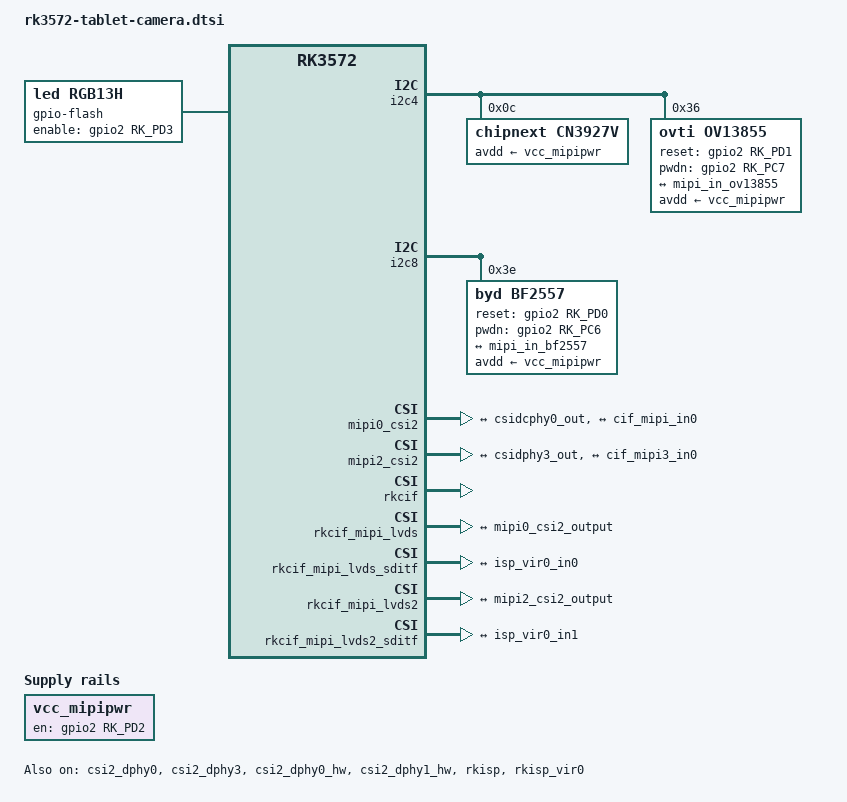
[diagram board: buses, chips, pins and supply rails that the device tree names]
// SPDX-License-Identifier: (GPL-2.0+ OR MIT)
/*
 * Copyright (c) 2026 Rockchip Electronics Co., Ltd.
 *
 */
/ {
	flash_rgb13h: flash-rgb13h {
		status = "okay";
		compatible = "led,rgb13h";
		label = "gpio-flash";
		pinctrl-names = "default";
		pinctrl-0 = <&flash_led_gpios>;
		led-max-microamp = <20000>;
		flash-max-microamp = <20000>;
		flash-max-timeout-us = <1000000>;
		enable-gpio = <&gpio2 RK_PD3 GPIO_ACTIVE_HIGH>;
		rockchip,camera-module-index = <0>;
		rockchip,camera-module-facing = "back";
	};

	vcc_mipipwr: vcc-mipipwr-regulator {
		compatible = "regulator-fixed";
		gpio = <&gpio2 RK_PD2 GPIO_ACTIVE_HIGH>;
		pinctrl-names = "default";
		pinctrl-0 = <&mipicam_pwr>;
		regulator-name = "vcc_mipipwr";
		enable-active-high;
		regulator-boot-on;
	};
};

&csi2_dphy0 {
	status = "okay";

	ports {
		#address-cells = <1>;
		#size-cells = <0>;
		port@0 {
			reg = <0>;
			#address-cells = <1>;
			#size-cells = <0>;

			mipi_in_ov13855: endpoint@1 {
				reg = <1>;
				remote-endpoint = <&ov13855_out0>;
				data-lanes = <1 2 3 4>;
			};

		};
		port@1 {
			reg = <1>;
			#address-cells = <1>;
			#size-cells = <0>;

			csidcphy0_out: endpoint@0 {
				reg = <0>;
				remote-endpoint = <&mipi0_csi2_input>;
			};
		};
	};
};

&csi2_dphy3 {
	status = "okay";

	ports {
		#address-cells = <1>;
		#size-cells = <0>;
		port@0 {
			reg = <0>;
			#address-cells = <1>;
			#size-cells = <0>;

			mipi_in_bf2557: endpoint@1 {
				reg = <1>;
				remote-endpoint = <&bf2557_out0>;
				data-lanes = <1 2>;
			};
		};
		port@1 {
			reg = <1>;
			#address-cells = <1>;
			#size-cells = <0>;

			csidphy3_out: endpoint@0 {
				reg = <0>;
				remote-endpoint = <&mipi2_csi2_input>;
			};
		};
	};
};

&csi2_dphy0_hw {
	status = "okay";
};

&csi2_dphy1_hw {
	status = "okay";
};

&i2c4 {
	status = "okay";
	pinctrl-0 = <&i2c4m2_xfer_pins>;

	cn3927v: cn3927v@c {
		compatible = "chipnext,cn3927v";
		status = "okay";
		reg = <0x0c>;
		avdd-supply = <&vcc_mipipwr>;
		rockchip,vcm-max-current = <1023>; // max 1023dac output current
		rockchip,vcm-start-current = <200>; // starting current
		rockchip,vcm-rated-current = <600>; // rate current
		/* normal mode parameters */
		/* S[3:2]: Codes per step, S[1:0]: Step period */
		rockchip,vcm-step-mode = <0x8>;
		/* Enhanced Dual Level Control Mode: 0/1 */
		rockchip,vcm-edlc-enable = <0>;
		/* Dual level control: 0/1 */
		rockchip,vcm-dlc-enable = <0>;
		/* MCLK[1:0]: 0b00~0b11 */
		rockchip,vcm-mclk = <1>;
		/* T_SRC[4:0] */
		rockchip,vcm-t-src = <0>;
		/* advanced mode parameters */
		rockchip,vcm-adcanced-mode = <1>;
		/* SAC_MODE[3:0]:0000~1110 */
		rockchip,vcm-sac-mode = <0x03>;
		/* SACT[6:0]: SAC time selection */
		rockchip,vcm-sac-time = <0x50>;
		/* PRESC[1:0]: Prescaler (SAC Period Divider) */
		rockchip,vcm-prescl = <0x01>;
		/* NRC(Noise Reduction Control) EN: 0:Direct mode 1:NRC mode */
		//rockchip,vcm-nrc-en = <0>;
		/* NRC_MODE: 0:NRC start; 1: NRC landing */
		//rockchip,vcm-nrc-mode = <1>;
		/* PRESET[7:0]: NRC Current Setting */
		//rockchip,vcm-nrc-preset = <>;
		/* NRC_INF[1:0]: NRC inflection point */
		//rockchip,vcm-nrc-infl = <0x01>;
		/* NRC_TIME: NRC Operation Time: 0 or 1 */
		//rockchip,vcm-nrc-time = <0>;
		rockchip,camera-module-index = <0>;
		rockchip,camera-module-facing = "back";
	};

	ov13855: ov13855@36 {
		compatible = "ovti,ov13855";
		status = "okay";
		reg = <0x36>;
		clocks = <&cru CAM_CLK0_OUT_IOUT>;
		clock-names = "xvclk";
		pinctrl-names = "default";
		pinctrl-0 = <&cam_clk0m1_clk0_pins>;
		power-domains = <&power RK3572_PD_VI>;
		reset-gpios = <&gpio2 RK_PD1 GPIO_ACTIVE_HIGH>;
		pwdn-gpios = <&gpio2 RK_PC7 GPIO_ACTIVE_HIGH>;
		avdd-supply = <&vcc_mipipwr>;
		//dovdd-supply = <&vcc_1v8_cam>;
		//dvdd-supply = <&vcc1v2_dvp>;
		rockchip,camera-module-index = <0>;
		rockchip,camera-module-facing = "back";
		rockchip,camera-module-name = "XCG12796-V1.0";
		rockchip,camera-module-lens-name = "M9B";
		lens-focus = <&cn3927v>;
		flash-leds = <&flash_rgb13h>;
		/* width, height -->crop_width, crop_height */
		rockchip,camera-module-defrect = <4224 3136 4096 3072>;
		port {
			ov13855_out0: endpoint {
				remote-endpoint = <&mipi_in_ov13855>;
				data-lanes = <1 2 3 4>;
			};
		};
	};
};

&i2c8 {
	status = "okay";
	pinctrl-names = "default";
	pinctrl-0 = <&i2c8m2_xfer_pins>;

	bf2557: bf2557@3e {
		compatible = "byd,bf2557";
		status = "okay";
		reg = <0x3e>;
		clocks = <&cru CAM_CLK1_OUT_IOUT>;
		clock-names = "xvclk";
		pinctrl-names = "default";
		pinctrl-0 = <&cam_clk1m1_clk1_pins>;
		power-domains = <&power RK3572_PD_VI>;
		reset-gpios = <&gpio2 RK_PD0 GPIO_ACTIVE_HIGH>;
		pwdn-gpios = <&gpio2 RK_PC6 GPIO_ACTIVE_HIGH>;
		avdd-supply = <&vcc_mipipwr>;
		rockchip,camera-module-index = <1>;
		rockchip,camera-module-facing = "front";
		rockchip,camera-module-name = "XCG12795-V1.0";
		rockchip,camera-module-lens-name = "M9B";
		port {
			bf2557_out0: endpoint {
				remote-endpoint = <&mipi_in_bf2557>;
				data-lanes = <1 2>;
			};
		};
	};
};

&mipi0_csi2 {
	status = "okay";

	ports {
		#address-cells = <1>;
		#size-cells = <0>;

		port@0 {
			reg = <0>;
			#address-cells = <1>;
			#size-cells = <0>;

			mipi0_csi2_input: endpoint@1 {
				reg = <1>;
				remote-endpoint = <&csidcphy0_out>;
			};
		};

		port@1 {
			reg = <1>;
			#address-cells = <1>;
			#size-cells = <0>;

			mipi0_csi2_output: endpoint@0 {
				reg = <0>;
				remote-endpoint = <&cif_mipi_in0>;
			};
		};
	};
};

&mipi2_csi2 {
	status = "okay";

	ports {
		#address-cells = <1>;
		#size-cells = <0>;

		port@0 {
			reg = <0>;
			#address-cells = <1>;
			#size-cells = <0>;

			mipi2_csi2_input: endpoint@1 {
				reg = <1>;
				remote-endpoint = <&csidphy3_out>;
			};
		};

		port@1 {
			reg = <1>;
			#address-cells = <1>;
			#size-cells = <0>;

			mipi2_csi2_output: endpoint@0 {
				reg = <0>;
				remote-endpoint = <&cif_mipi3_in0>;
			};
		};
	};
};

&pinctrl {
	cam {
		mipicam_pwr: mipicam-pwr {
			rockchip,pins =
				/* camera power en */
				<2 RK_PD2 RK_FUNC_GPIO &pcfg_pull_none>;
		};

		flash_led_gpios: flash-led {
			rockchip,pins =
				/* flash led enable */
				<2 RK_PD3 RK_FUNC_GPIO &pcfg_pull_none>;
		};
	};
};

&rkcif {
	status = "okay";
};

&rkcif_mipi_lvds {
	status = "okay";

	port {
		cif_mipi_in0: endpoint {
			remote-endpoint = <&mipi0_csi2_output>;
		};
	};
};

&rkcif_mipi_lvds_sditf {
	status = "okay";

	port {
		mipi_lvds_sditf: endpoint {
			remote-endpoint = <&isp_vir0_in0>;
		};
	};
};

&rkcif_mipi_lvds2 {
	status = "okay";

	port {
		cif_mipi3_in0: endpoint {
			remote-endpoint = <&mipi2_csi2_output>;
		};
	};
};

&rkcif_mipi_lvds2_sditf {
	status = "okay";

	port {
		mipi_lvds3_sditf: endpoint {
			remote-endpoint = <&isp_vir0_in1>;
		};
	};
};

&rkcif_mmu {
	status = "okay";
};

&rkisp {
	status = "okay";
};

&rkisp_mmu {
	status = "okay";
};

&rkisp_vir0 {
	status = "okay";

	port {
		#address-cells = <1>;
		#size-cells = <0>;

		isp_vir0_in0: endpoint@0 {
			reg = <0>;
			remote-endpoint = <&mipi_lvds_sditf>;
		};

		isp_vir0_in1: endpoint@1 {
			reg = <1>;
			remote-endpoint = <&mipi_lvds3_sditf>;
		};
	};
};
